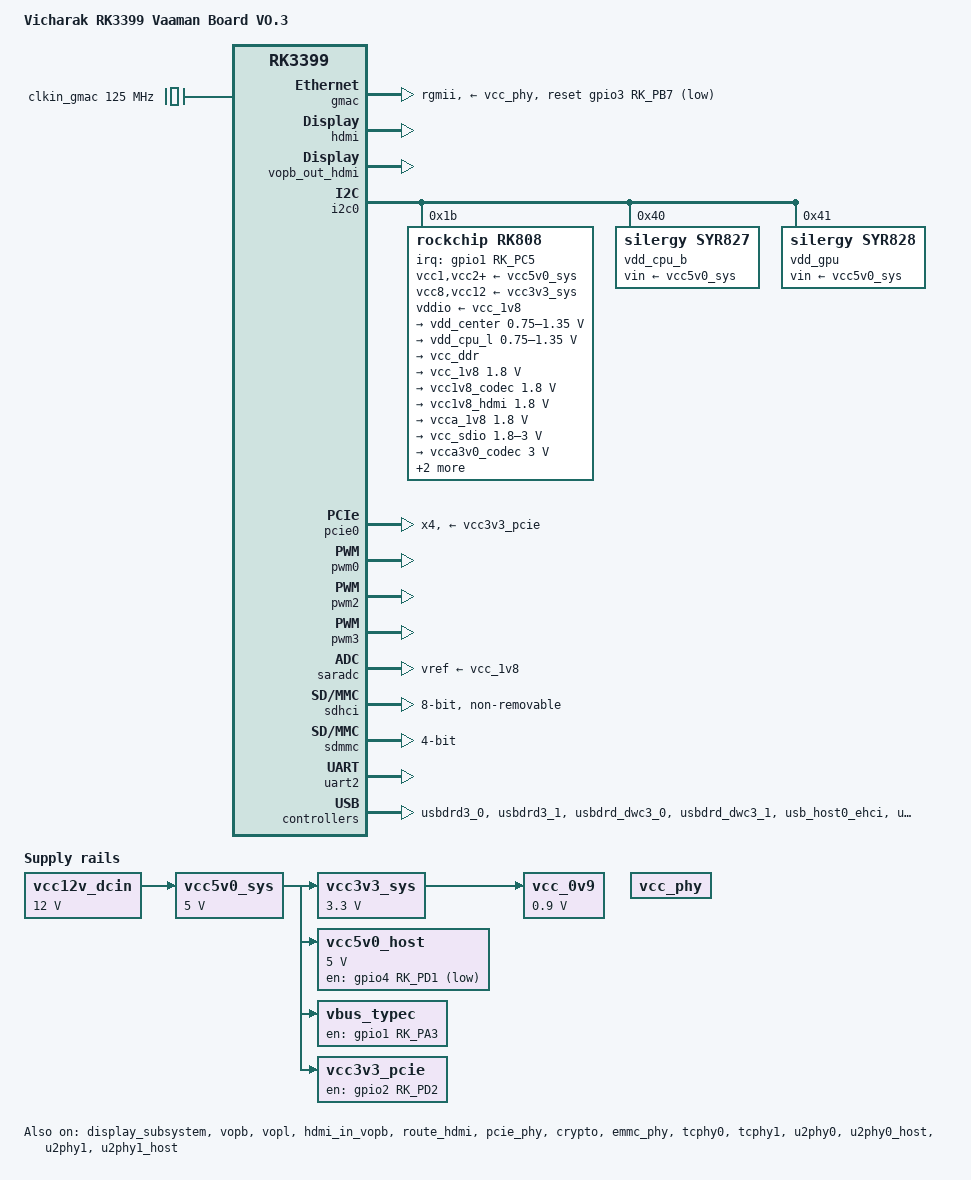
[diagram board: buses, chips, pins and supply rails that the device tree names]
// SPDX-License-Identifier: (GPL-2.0+ OR MIT)
/*
 * Copyright (c) 2023 Vicharak India
 *
 */

/dts-v1/;
#include "rk3399.dtsi"
#include "rk3399-sdram-lpddr3-4GB-1600.dtsi"
#include "rk3399-u-boot.dtsi"
#include <dt-bindings/input/input.h>
#include <dt-bindings/pinctrl/rockchip.h>
#include <dt-bindings/pwm/pwm.h>

/ {
	model = "Vicharak RK3399 Vaaman Board VO.3";
	compatible = "vicharak,rk3399-vaaman", "rockchip,rk3399";

	// GMAC Clock: {{{
	clkin_gmac: external-gmac-clock {
		compatible = "fixed-clock";
		clock-frequency = <125000000>;
		clock-output-names = "clkin_gmac";
		#clock-cells = <0>;
	};
	// End of GMAC Clock }}}

	// Regulators: {{{
	vcc12v_dcin: vcc12v-dcin {
		u-boot,dm-pre-reloc;
		compatible = "regulator-fixed";
		regulator-name = "vcc12v_dcin";
		regulator-always-on;
		regulator-boot-on;
		regulator-min-microvolt = <12000000>;
		regulator-max-microvolt = <12000000>;
	};

	vcc5v0_sys: vcc5v0-sys {
		u-boot,dm-pre-reloc;
		compatible = "regulator-fixed";
		regulator-name = "vcc5v0_sys";
		regulator-always-on;
		regulator-boot-on;
		regulator-min-microvolt = <5000000>;
		regulator-max-microvolt = <5000000>;
		vin-supply = <&vcc12v_dcin>;
	};

	vcc3v3_sys: vcc3v3-sys {
		u-boot,dm-pre-reloc;
		compatible = "regulator-fixed";
		regulator-name = "vcc3v3_sys";
		regulator-always-on;
		regulator-boot-on;
		regulator-min-microvolt = <3300000>;
		regulator-max-microvolt = <3300000>;
		vin-supply = <&vcc5v0_sys>;
	};

	vcc_phy: vcc-phy-regulator {
		compatible = "regulator-fixed";
		regulator-name = "vcc_phy";
		regulator-always-on;
		regulator-boot-on;
	};

	vcc5v0_host: vcc5v0-host-en {
		compatible = "regulator-fixed";
		regulator-name = "vcc5v0_host";
		gpio = <&gpio4 RK_PD1 GPIO_ACTIVE_HIGH>;
		pinctrl-names = "default";
		pinctrl-0 = <&vcc5v0_host_en>;
		regulator-min-microvolt = <5000000>;
		regulator-max-microvolt = <5000000>;
		regulator-always-on;
		regulator-boot-on;
		vin-supply = <&vcc5v0_sys>;
	};

	vbus_typec: vcc5v0-typec-regulator {
		compatible = "regulator-fixed";
		enable-active-high;
		gpio = <&gpio1 RK_PA3 GPIO_ACTIVE_HIGH>;
		pinctrl-names = "default";
		pinctrl-0 = <&vbus_typec_en>;
		regulator-always-on;
		regulator-name = "vbus_typec";
		vin-supply = <&vcc5v0_sys>;
	};

	vcc_0v9: vcc-0v9 {
		compatible = "regulator-fixed";
		regulator-name = "vcc_0v9";
		regulator-always-on;
		regulator-boot-on;
		regulator-min-microvolt = <900000>;
		regulator-max-microvolt = <900000>;
		vin-supply = <&vcc3v3_sys>;
	};

	vcc3v3_pcie: vcc3v3-pcie-regulator {
		compatible = "regulator-fixed";
		enable-active-high;
		gpio = <&gpio2 RK_PD2 GPIO_ACTIVE_HIGH>;
		pinctrl-names = "default";
		pinctrl-0 = <&pcie_pwr_en>;
		regulator-name = "vcc3v3_pcie";
		regulator-always-on;
		regulator-boot-on;
		vin-supply = <&vcc5v0_sys>;
	};
	// End of Regulators }}}
};

// CPU Supply: {{{
&cpu_l0 {
	cpu-supply = <&vdd_cpu_l>;
};

&cpu_l1 {
	cpu-supply = <&vdd_cpu_l>;
};

&cpu_l2 {
	cpu-supply = <&vdd_cpu_l>;
};

&cpu_l3 {
	cpu-supply = <&vdd_cpu_l>;
};

&cpu_b0 {
	cpu-supply = <&vdd_cpu_b>;
};

&cpu_b1 {
	cpu-supply = <&vdd_cpu_b>;
};
// End of CPU Supply }}}

// Display: {{{
&display_subsystem {
	status = "okay";
};

&vopb {
	status = "okay";
};

&vopl {
	status = "okay";
};
// End of Display }}}

// Ethernet {{{
&gmac {
	assigned-clocks = <&cru SCLK_RMII_SRC>;
	assigned-clock-parents = <&clkin_gmac>;
	clock_in_out = "input";
	phy-supply = <&vcc_phy>;
	phy-mode = "rgmii";
	pinctrl-names = "default";
	pinctrl-0 = <&rgmii_pins>;
	snps,reset-gpio = <&gpio3 RK_PB7 GPIO_ACTIVE_LOW>;
	snps,reset-active-low;
	snps,reset-delays-us = <0 10000 50000>;
	tx_delay = <0x28>;
	rx_delay = <0x11>;
	status = "okay";
};
// End of Ethernet }}}

// HDMI: {{{
&hdmi {
	status = "okay";
};

&hdmi_in_vopb {
	status = "okay";
};

&vopb_out_hdmi {
	status = "okay";
};

&route_hdmi {
	status = "okay";
};
// End of HDMI }}}

// I2C 0: {{{
&i2c0 {
	status = "okay";

	rk808: pmic@1b {
		compatible = "rockchip,rk808";
		reg = <0x1b>;
		interrupt-parent = <&gpio1>;
		interrupts = <RK_PC5 IRQ_TYPE_LEVEL_LOW>;
		#clock-cells = <1>;
		clock-output-names = "xin32k", "rk808-clkout2";
		pinctrl-names = "default";
		pinctrl-0 = <&pmic_int_l>;
		rockchip,system-power-controller;
		wakeup-source;
		status = "okay";

		vcc1-supply = <&vcc5v0_sys>;
		vcc2-supply = <&vcc5v0_sys>;
		vcc3-supply = <&vcc5v0_sys>;
		vcc4-supply = <&vcc5v0_sys>;
		vcc6-supply = <&vcc5v0_sys>;
		vcc7-supply = <&vcc5v0_sys>;
		vcc8-supply = <&vcc3v3_sys>;
		vcc9-supply = <&vcc5v0_sys>;
		vcc10-supply = <&vcc5v0_sys>;
		vcc11-supply = <&vcc5v0_sys>;
		vcc12-supply = <&vcc3v3_sys>;
		vddio-supply = <&vcc_1v8>;

		// PMIC Regulators: {{{
		regulators {
			vdd_center: DCDC_REG1 {
				regulator-name = "vdd_center";
				regulator-always-on;
				regulator-boot-on;
				regulator-min-microvolt = <750000>;
				regulator-max-microvolt = <1350000>;
				regulator-ramp-delay = <6001>;
				regulator-state-mem {
					regulator-off-in-suspend;
				};
			};

			vdd_cpu_l: DCDC_REG2 {
				regulator-name = "vdd_cpu_l";
				regulator-always-on;
				regulator-boot-on;
				regulator-min-microvolt = <750000>;
				regulator-max-microvolt = <1350000>;
				regulator-ramp-delay = <6001>;
				regulator-state-mem {
					regulator-off-in-suspend;
				};
			};

			vcc_ddr: DCDC_REG3 {
				regulator-name = "vcc_ddr";
				regulator-always-on;
				regulator-boot-on;
				regulator-state-mem {
					regulator-on-in-suspend;
				};
			};

			vcc_1v8: DCDC_REG4 {
				regulator-name = "vcc_1v8";
				regulator-always-on;
				regulator-boot-on;
				regulator-min-microvolt = <1800000>;
				regulator-max-microvolt = <1800000>;
				regulator-state-mem {
					regulator-on-in-suspend;
					regulator-suspend-microvolt = <1800000>;
				};
			};

			vcc1v8_codec: LDO_REG1 {
				regulator-name = "vcc1v8_codec";
				regulator-always-on;
				regulator-boot-on;
				regulator-min-microvolt = <1800000>;
				regulator-max-microvolt = <1800000>;
				regulator-state-mem {
					regulator-off-in-suspend;
				};
			};

			vcc1v8_hdmi: LDO_REG2 {
				regulator-name = "vcc1v8_hdmi";
				regulator-always-on;
				regulator-boot-on;
				regulator-min-microvolt = <1800000>;
				regulator-max-microvolt = <1800000>;
				regulator-state-mem {
					regulator-off-in-suspend;
				};
			};

			vcca_1v8: LDO_REG3 {
				regulator-name = "vcca_1v8";
				regulator-always-on;
				regulator-boot-on;
				regulator-min-microvolt = <1800000>;
				regulator-max-microvolt = <1800000>;
				regulator-state-mem {
					regulator-on-in-suspend;
					regulator-suspend-microvolt = <1800000>;
				};
			};

			vcc_sdio: LDO_REG4 {
				regulator-name = "vcc_sdio";
				regulator-always-on;
				regulator-boot-on;
				regulator-min-microvolt = <1800000>;
				regulator-max-microvolt = <3000000>;
				regulator-state-mem {
					regulator-on-in-suspend;
					regulator-suspend-microvolt = <3000000>;
				};
			};

			vcca3v0_codec: LDO_REG5 {
				regulator-name = "vcca3v0_codec";
				regulator-always-on;
				regulator-boot-on;
				regulator-min-microvolt = <3000000>;
				regulator-max-microvolt = <3000000>;
				regulator-state-mem {
					regulator-off-in-suspend;
				};
			};

			vcc_1v5: LDO_REG6 {
				regulator-name = "vcc_1v5";
				regulator-always-on;
				regulator-boot-on;
				regulator-min-microvolt = <1500000>;
				regulator-max-microvolt = <1500000>;
				regulator-state-mem {
					regulator-on-in-suspend;
					regulator-suspend-microvolt = <1500000>;
				};
			};

			vcc0v9_hdmi: LDO_REG7 {
				regulator-name = "vcc0v9_hdmi";
				regulator-always-on;
				regulator-boot-on;
				regulator-min-microvolt = <900000>;
				regulator-max-microvolt = <900000>;
				regulator-state-mem {
					regulator-off-in-suspend;
				};
			};

			vcc_3v0: LDO_REG8 {
				regulator-name = "vcc_3v0";
				regulator-always-on;
				regulator-boot-on;
				regulator-min-microvolt = <3000000>;
				regulator-max-microvolt = <3000000>;
				regulator-state-mem {
					regulator-on-in-suspend;
					regulator-suspend-microvolt = <3000000>;
				};
			};

			vcc3v3_s3: SWITCH_REG1 {
				regulator-name = "vcc3v3_s3";
				regulator-always-on;
				regulator-boot-on;
				regulator-state-mem {
					regulator-on-in-suspend;
				};
			};

			vcc3v3_s0: SWITCH_REG2 {
				regulator-name = "vcc3v3_s0";
				regulator-always-on;
				regulator-boot-on;
				regulator-state-mem {
					regulator-off-in-suspend;
				};
			};
		};
	// End of PMIC Regulators }}}
	};

 	// CPU Regulator: {{{
	vdd_cpu_b: regulator@40 {
		compatible = "silergy,syr827";
		reg = <0x40>;
		fcs,suspend-voltage-selector = <1>;
		pinctrl-names = "default";
		pinctrl-0 = <&vsel1_pin>;
		regulator-name = "vdd_cpu_b";
		regulator-min-microvolt = <712500>;
		regulator-max-microvolt = <1500000>;
		regulator-ramp-delay = <1000>;
		regulator-always-on;
		regulator-boot-on;
		vin-supply = <&vcc5v0_sys>;

		regulator-state-mem {
			regulator-off-in-suspend;
		};
	};
	// End of CPU Regulator }}}

	// GPU Regulator: {{{
	vdd_gpu: regulator@41 {
		compatible = "silergy,syr828";
		reg = <0x41>;
		fcs,suspend-voltage-selector = <1>;
		pinctrl-names = "default";
		pinctrl-0 = <&vsel2_pin>;
		regulator-name = "vdd_gpu";
		regulator-min-microvolt = <712500>;
		regulator-max-microvolt = <1500000>;
		regulator-ramp-delay = <1000>;
		regulator-always-on;
		regulator-boot-on;
		vin-supply = <&vcc5v0_sys>;

		regulator-state-mem {
			regulator-off-in-suspend;
		};
	};
	// End of GPU Regulator }}}
};
// End of I2C 0 }}}

// PCIE: {{{
&pcie_phy {
	status = "okay";
};

&pcie0 {
	ep-gpios = <&gpio4 RK_PD3 GPIO_ACTIVE_HIGH>;
	num-lanes = <4>;
	pinctrl-names = "default";
	pinctrl-0 = <&pcie_clkreqnb_cpm>;
	vpcie0v9-supply = <&vcc_0v9>;
	vpcie1v8-supply = <&vcc_1v8>;
	vpcie3v3-supply = <&vcc3v3_pcie>;
	status = "okay";
};
// End of PCIE }}}

// Pinctrl: {{{
&pinctrl {
	pcie {
		pcie_pwr_en: pcie-pwr-en {
			rockchip,pins =
				<2 RK_PD2 RK_FUNC_GPIO &pcfg_pull_none>;
		};
	};

	pmic {
		pmic_int_l: pmic-int-l {
			rockchip,pins =
				<1 RK_PC5 RK_FUNC_GPIO &pcfg_pull_up>;
		};

		vsel1_pin: vsel1-pin {
			rockchip,pins =
				<1 RK_PC1 RK_FUNC_GPIO &pcfg_pull_down>;
		};

		vsel2_pin: vsel2-pin {
			rockchip,pins =
				<1 RK_PB6 RK_FUNC_GPIO &pcfg_pull_down>;
		};
	};

	usb-typec {
		vbus_typec_en: vcc5v0-typec-en {
			rockchip,pins =
				<1 RK_PA3 RK_FUNC_GPIO &pcfg_pull_none>;
		};
	};

	usb2 {
		vcc5v0_host_en: vcc5v0-host-en {
			rockchip,pins =
				<4 RK_PD1 RK_FUNC_GPIO &pcfg_pull_none>;
		};
	};
};
// End of Pinctrl }}}

// PWM: {{{
&pwm0 {
	status = "okay";
};

&pwm2 {
	status = "okay";
};

&pwm3 {
	status = "okay";
};
// End of PWM }}}

// Rockchip Crypto: {{{
&crypto {
	status = "okay";
};
// End of Rockchip Crypto }}}

// SARADC: {{{
&saradc {
	status = "okay";
	vref-supply = <&vcc_1v8>;
};
// End of SARADC }}}

// SDHCI (eMMC): {{{
&sdhci {
	max-frequency = <150000000>;
	bus-width = <8>;
	mmc-hs400-1_8v;
	mmc-hs400-enhanced-strobe;
	non-removable;
	status = "okay";
};

&emmc_phy {
	status = "okay";
};
// End of SDHCI }}}

// SDMMC: {{{
&sdmmc {
	clock-frequency = <150000000>;
	no-sdio;
	no-mmc;
	bus-width = <4>;
	cap-mmc-highspeed;
	cap-sd-highspeed;
	disable-wp;
	sd-uhs-sdr104;
	num-slots = <1>;
	pinctrl-names = "default";
	vqmmc-supply = <&vcc_sdio>;
	status = "okay";
};
// End of SDMMC }}}

// UART 2: {{{
&uart2 {
	status = "okay";
};
// End of UART 2 }}}

// USB: {{{
&tcphy0 {
	status = "okay";
};

&tcphy1 {
	status = "okay";
};

&u2phy0 {
	status = "okay";
};

&u2phy0_host {
	phy-supply = <&vcc5v0_host>;
	status = "okay";
};

&u2phy1 {
	status = "okay";
};

&u2phy1_host {
	phy-supply = <&vcc5v0_host>;
	status = "okay";
};

&usbdrd3_0 {
	status = "okay";
};

&usbdrd3_1 {
	status = "okay";
};

&usbdrd_dwc3_0 {
	status = "okay";
};

&usbdrd_dwc3_1 {
	status = "okay";
};

&usb_host0_ehci {
	status = "okay";
};

&usb_host0_ohci {
	status = "okay";
};

&usb_host1_ehci {
	status = "okay";
};

&usb_host1_ohci {
	status = "okay";
};
// End of USB }}}
